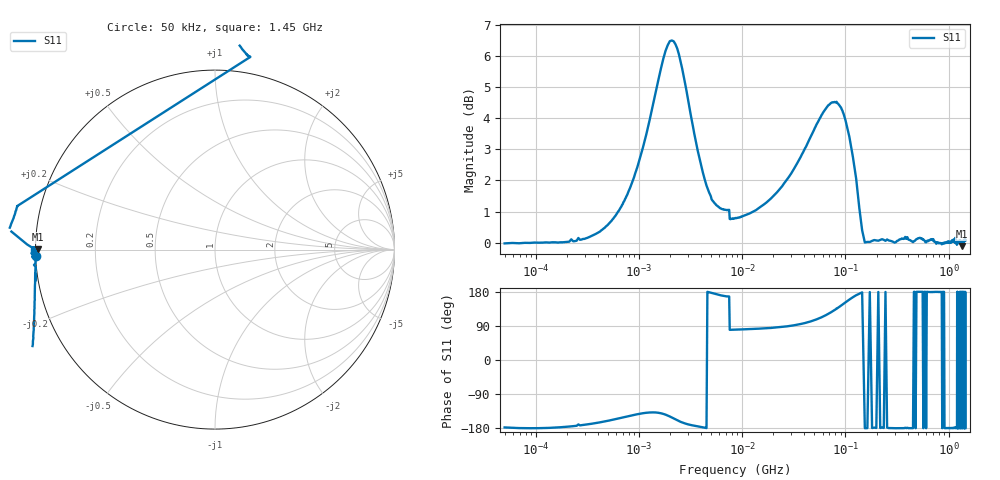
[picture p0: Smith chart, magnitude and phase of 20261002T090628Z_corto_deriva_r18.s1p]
! piloto_deriva / corto_deriva / r18
# HZ S RI R 50
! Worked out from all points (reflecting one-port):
!   501 points, 50 kHz to 1.45 GHz, reference 50 ohm
!   lowest |S11| = -0.1 dB at 1.351 GHz (marker M1), VSWR 151.75, Z = 0.329 + j0.0253 ohm
!   phase of S11 starts at -178 deg and turns -2 deg over the sweep
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50000  -0.9965 -0.0363
183000  -0.9999 -0.0519
354000  -1.003 -0.2146
658000  -1.014 -0.5098
1180000  -1.132 -0.9754
1630000  -1.468 -1.21
1990000  -1.808 -1.083
2170000  -1.899 -0.9114
2440000  -1.9 -0.6439
3070000  -1.635 -0.2699
4330000  -1.264 -0.0308
7300000  -1.102 0.2419
7750000  0.194 1.074
8560000  0.1878 1.079
1.99e7  0.1009 1.182
3.16e7  -0.0343 1.312
4.69e7  -0.3239 1.454
6.76e7  -0.8598 1.419
7.93e7  -1.141 1.237
9.37e7  -1.357 0.9002
9.82e7  -1.385 0.7834
1e8  -1.39 0.7367
1.18e8  -1.331 0.3389
1.36e8  -1.134 0.1005
1.63e8  -1.003 -0.00354
4.06e8  -1.011 -0.00407
1.351e9  -0.9869 0.000999
1.45e9  -1.009 -0.0058
